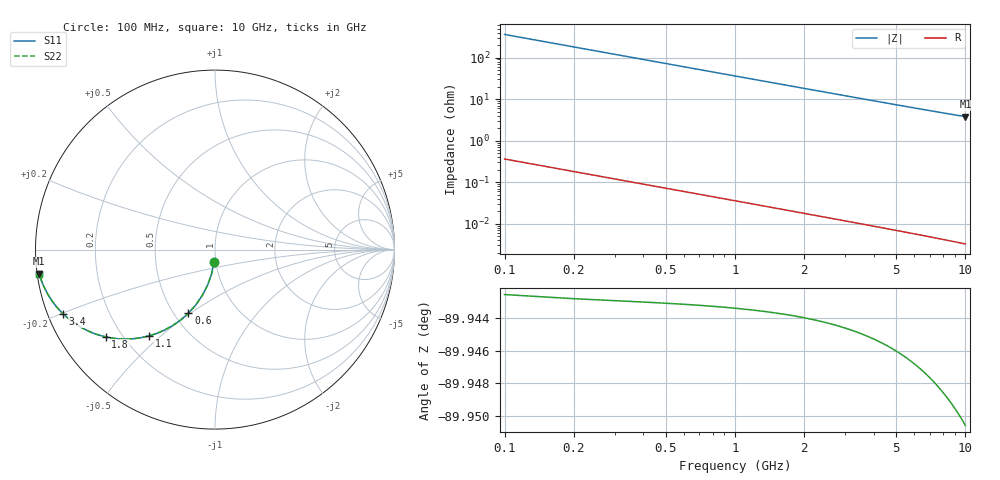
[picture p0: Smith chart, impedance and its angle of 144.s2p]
# Hz S RI R 50.00
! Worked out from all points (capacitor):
!   100 points, 100 MHz to 10 GHz, reference 50 ohm
!   read as one part in shunt: C = 4.42 pF near 100 MHz
!   lowest |Z| = 3.78 ohm at 10 GHz (marker M1)
!   S11 on the Smith chart (normalised r, x): 100 MHz: 0.98, -0.14; 600 MHz: 0.59, -0.49; 1.1 GHz: 0.30, -0.46; 1.8 GHz: 0.14, -0.34; 3.4 GHz: 0.04, -0.20; 10 GHz: 0.01, -0.07
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1e8  -0.00484 -0.069  0.9951 -0.0691  0.9951 -0.0691  -0.00484 -0.069
2e8  -0.019 -0.136  0.981 -0.1362  0.981 -0.1362  -0.019 -0.136
3e8  -0.0417 -0.1992  0.9583 -0.1996  0.9583 -0.1996  -0.0417 -0.1992
4e8  -0.0717 -0.2573  0.9283 -0.2578  0.9283 -0.2578  -0.0717 -0.2573
5e8  -0.1076 -0.3091  0.8924 -0.3097  0.8924 -0.3097  -0.1076 -0.3091
6e8  -0.1479 -0.3541  0.8521 -0.3549  0.8521 -0.3549  -0.1479 -0.3541
7e8  -0.191 -0.3921  0.809 -0.3931  0.809 -0.3931  -0.191 -0.3921
8e8  -0.2356 -0.4233  0.7644 -0.4244  0.7644 -0.4244  -0.2356 -0.4233
9e8  -0.2805 -0.4481  0.7195 -0.4494  0.7195 -0.4494  -0.2805 -0.4481
1.1e9  -0.3678 -0.481  0.6321 -0.4825  0.6321 -0.4825  -0.3678 -0.481
1.4e9  -0.4849 -0.4983  0.5151 -0.5002  0.5151 -0.5002  -0.4849 -0.4983
1.6e9  -0.5513 -0.4958  0.4487 -0.4979  0.4487 -0.4979  -0.5513 -0.4958
1.8e9  -0.6084 -0.4864  0.3915 -0.4888  0.3915 -0.4888  -0.6084 -0.4864
2.1e9  -0.6787 -0.465  0.3212 -0.4679  0.3212 -0.4679  -0.6787 -0.465
2.5e9  -0.7494 -0.4312  0.2506 -0.4346  0.2506 -0.4346  -0.7494 -0.4312
2.9e9  -0.8007 -0.3969  0.1992 -0.4009  0.1992 -0.4009  -0.8007 -0.3969
3.4e9  -0.8465 -0.3576  0.1534 -0.3622  0.1534 -0.3622  -0.8465 -0.3576
4.2e9  -0.8936 -0.3049  0.1063 -0.3106  0.1063 -0.3106  -0.8936 -0.3049
5.1e9  -0.9252 -0.259  0.0747 -0.266  0.0747 -0.266  -0.9252 -0.259
6.7e9  -0.9552 -0.2015  0.0447 -0.2109  0.0447 -0.2109  -0.9552 -0.2015
8.4e9  -0.9711 -0.1609  0.0288 -0.1728  0.0288 -0.1728  -0.9711 -0.1609
1e10  -0.9795 -0.1338  0.0204 -0.1481  0.0204 -0.1481  -0.9795 -0.1338
